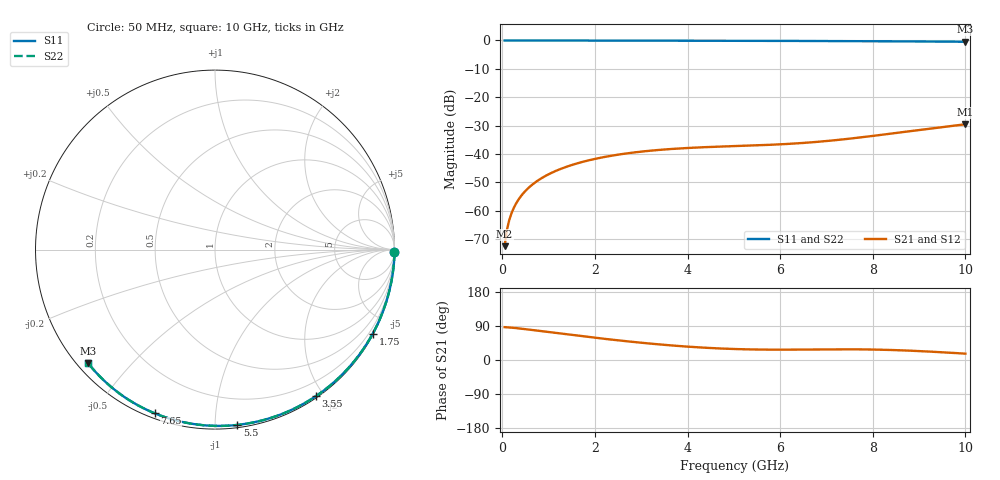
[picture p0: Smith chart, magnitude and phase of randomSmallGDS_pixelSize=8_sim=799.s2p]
! freq	dB(S11)	phase(S11)	dB(S12)	phase(S12)
!  dB(S21)	phase(S21)	dB(S22)	phase(S22)
!S-par simulation data
#  GHz  S  DB  R 50
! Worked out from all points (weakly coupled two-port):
!   200 points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, 50 MHz to 10 GHz, reference 50 ohm
!   highest |S21| = -29.57 dB at 10 GHz (marker M1); lowest = -72.6 dB at 50 MHz (marker M2)
!   lowest |S11| = -0.5 dB at 10 GHz (marker M3), VSWR 37.85, Z = 1.51 - j19 ohm
!   |S11| at or under -10 dB: nowhere
!   |S22| runs from -0.5 to 0.0 dB; largest |S21 - S12| = 0
!   S11 on the Smith chart (normalised r, x): 50 MHz: open; 1.75 GHz: 0.04, -4.01; 3.55 GHz: 0.02, -1.91; 5.5 GHz: 0.02, -1.14; 7.65 GHz: 0.02, -0.70; 10 GHz: 0.03, -0.38
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0.05  -0.00 -0.8  -72.56 86.7  -72.56 86.7  -0.00 -0.8
0.1  -0.00 -1.6  -66.80 86.1  -66.80 86.1  -0.00 -1.6
0.15  -0.00 -2.4  -63.38 85.8  -63.38 85.8  -0.00 -2.5
0.2  -0.00 -3.3  -60.92 85.4  -60.92 85.4  -0.00 -3.3
0.25  -0.00 -4.1  -59.01 84.8  -59.01 84.8  -0.00 -4.1
0.35  -0.00 -5.7  -56.12 83.5  -56.12 83.5  -0.00 -5.7
0.5  -0.01 -8.1  -53.06 81.4  -53.06 81.4  -0.01 -8.1
0.7  -0.01 -11.3  -50.19 78.3  -50.19 78.3  -0.01 -11.4
1  -0.02 -16.1  -47.20 73.7  -47.20 73.7  -0.02 -16.2
1.35  -0.03 -21.7  -44.76 68.4  -44.76 68.4  -0.03 -21.8
1.75  -0.04 -28.0  -42.76 62.4  -42.76 62.4  -0.04 -28.1
2.5  -0.05 -39.6  -40.28 51.9  -40.28 51.9  -0.05 -39.7
3.4  -0.07 -53.2  -38.59 41.0  -38.59 41.0  -0.07 -53.3
3.55  -0.07 -55.4  -38.40 39.5  -38.40 39.5  -0.07 -55.5
4.3  -0.09 -66.2  -37.70 32.9  -37.70 32.9  -0.09 -66.4
5.05  -0.12 -76.6  -37.24 28.8  -37.24 28.8  -0.12 -76.8
5.5  -0.13 -82.7  -36.99 27.6  -36.99 27.6  -0.13 -82.9
6.7  -0.19 -98.4  -35.90 27.8  -35.90 27.8  -0.19 -98.5
7.65  -0.25 -110.2  -34.36 28.2  -34.36 28.2  -0.25 -110.4
8.35  -0.30 -118.7  -32.96 26.6  -32.96 26.6  -0.30 -118.8
9.2  -0.37 -128.8  -31.19 22.4  -31.19 22.4  -0.37 -128.9
10  -0.46 -138.3  -29.57 16.7  -29.57 16.7  -0.46 -138.3
